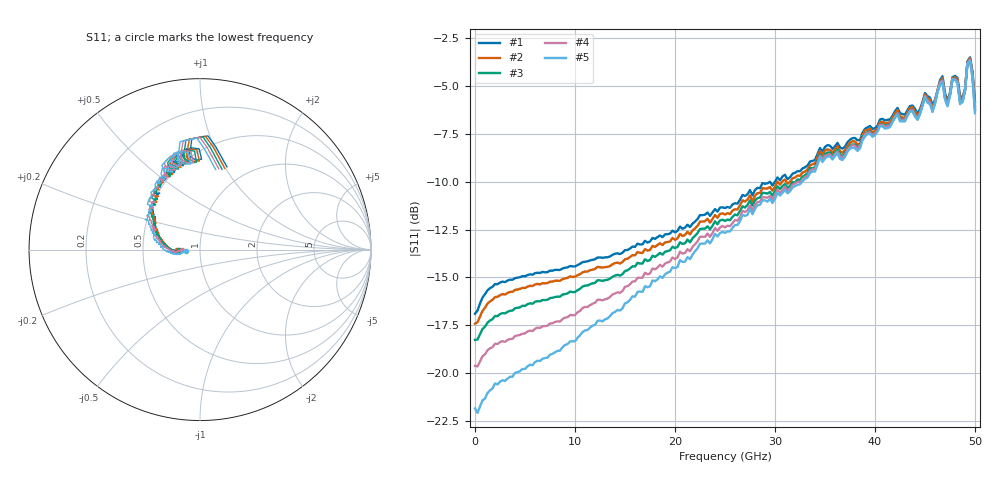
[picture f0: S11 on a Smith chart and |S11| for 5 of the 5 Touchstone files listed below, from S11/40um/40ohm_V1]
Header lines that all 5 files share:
!Agilent Technologies,N5227A,US51270434,A.10.00.00
!Agilent N5227A: A.10.00.00
!Correction: S11(Full 1 Port(1))
!S1P File: Measurement: S11:
# Hz S  dB  R 50
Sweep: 10 MHz to 50 GHz
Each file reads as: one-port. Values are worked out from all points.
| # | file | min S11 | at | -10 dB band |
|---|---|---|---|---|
| 1 | S11_-3V.s1p | -16.9 dB | 10 MHz | over 30 GHz wide |
| 2 | S11_-4V.s1p | -17.4 dB | 10 MHz | over 30.71 GHz wide |
| 3 | S11_-5V.s1p | -18.3 dB | 10 MHz | over 32.07 GHz wide |
| 4 | S11_-6V.s1p | -19.6 dB | 259.9 MHz | over 32.55 GHz wide |
| 5 | S11_-7V_36ohm.s1p | -22.1 dB | 259.9 MHz | over 32.71 GHz wide |
